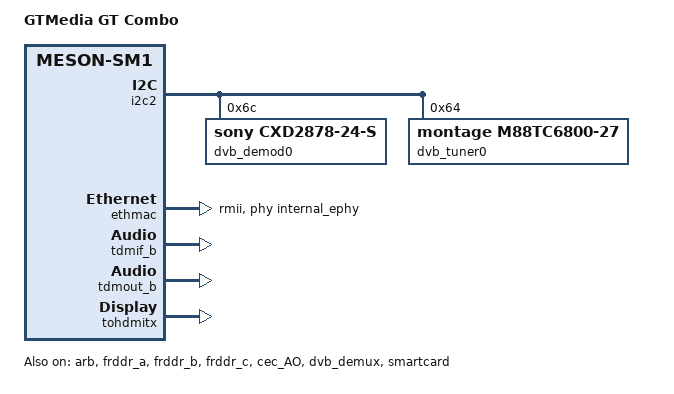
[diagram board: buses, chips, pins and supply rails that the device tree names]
// SPDX-License-Identifier: (GPL-2.0+ OR MIT)
/*
 * Copyright (c) 2026 Marek Czerski <ma.czerski@gmail.com>
 */

/dts-v1/;

#include "meson-sm1-ac2xx.dtsi"
#include <dt-bindings/sound/meson-g12a-tohdmitx.h>

/{
	compatible = "amlogic,gtcombo", "amlogic,sm1";
	model = "GTMedia GT Combo";

	sound {
		compatible = "amlogic,axg-sound-card";
		model = "GTCombo";
		audio-aux-devs = <&tdmout_b>;
		audio-routing = "TDMOUT_B IN 0", "FRDDR_A OUT 1",
				"TDMOUT_B IN 1", "FRDDR_B OUT 1",
				"TDMOUT_B IN 2", "FRDDR_C OUT 1",
				"TDM_B Playback", "TDMOUT_B OUT";

		clocks = <&clkc CLKID_MPLL2>,
			 <&clkc CLKID_MPLL0>,
			 <&clkc CLKID_MPLL1>;

		assigned-clocks = <&clkc CLKID_MPLL2>,
				  <&clkc CLKID_MPLL0>,
				  <&clkc CLKID_MPLL1>;
		assigned-clock-parents = <0>, <0>, <0>;
		assigned-clock-rates = <294912000>,
					   <270950400>,
					   <393216000>;

		dai-link-0 {
			sound-dai = <&frddr_a>;
		};

		dai-link-1 {
			sound-dai = <&frddr_b>;
		};

		dai-link-2 {
			sound-dai = <&frddr_c>;
		};

		/* 8ch hdmi interface */
		dai-link-3 {
			sound-dai = <&tdmif_b>;
			dai-format = "i2s";
			dai-tdm-slot-tx-mask-0 = <1 1>;
			dai-tdm-slot-tx-mask-1 = <1 1>;
			dai-tdm-slot-tx-mask-2 = <1 1>;
			dai-tdm-slot-tx-mask-3 = <1 1>;
			mclk-fs = <256>;

			codec {
				sound-dai = <&tohdmitx TOHDMITX_I2S_IN_B>;
			};
		};

		/* hdmi glue */
		dai-link-4 {
			sound-dai = <&tohdmitx TOHDMITX_I2S_OUT>;

			codec {
				sound-dai = <&hdmi_tx>;
			};
		};
	};

	soc {
		demux: demux { 
			compatible = "amlogic, dmx"; 
 
			interrupts = <GIC_SPI 23 IRQ_TYPE_EDGE_RISING>,
						 <GIC_SPI 5  IRQ_TYPE_EDGE_RISING>,
						 <GIC_SPI 21 IRQ_TYPE_EDGE_RISING>,
						 <GIC_SPI 19 IRQ_TYPE_EDGE_RISING>,
						 <GIC_SPI 25 IRQ_TYPE_EDGE_RISING>;
			interrupt-names = "demux0_irq", "demux1_irq", "demux2_irq", "dvr0_irq", "dvr1_irq"; 
		};
	};

	dvb_demux: dvb-demux {
		compatible = "amlogic,meson-g12a-demux";
		status = "okay";

		reg = <0x0 0xffd06000 0x0 0x400>,
			  <0x0 0xffd0a000 0x0 0x10>,
			  <0x0 0xffd09000 0x0 0x10>;
		reg-names = "stb", "asyncfifo0", "asyncfifo1";

		ts0 = "serial";
		ts0_control = <0x800>;
		ts0_invert = <0x0>;
		ts1 = "parallel";
		ts1_control = <0x0>;
		ts1_invert = <0x0>;

		pinctrl-names = "s_ts0", "p_ts1";
		pinctrl-0 = <&dvb_s_ts0_ao_pins>;
		pinctrl-1 = <&dvb_p_ts1_z_pins>;
		dmx = <&demux>;

		clocks = <&clkc CLKID_DEMUX
				  &clkc CLKID_AHB_ARB0
				  &clkc CLKID_PARSER>;
		clock-names = "demux", "ahbarb0", "parser_top";

		resets = <&reset RESET_DEMUX>,
				 <&reset RESET_DEMUX_DES_PL>,
				 <&reset RESET_DEMUX_0>,
				 <&reset RESET_DEMUX_1>,
				 <&reset RESET_DEMUX_2>,
				 <&reset RESET_ASYNC0>,
				 <&reset RESET_ASYNC1>;
		reset-names = "demux_rst", "des_rst", "demux0_rst", "demux1_rst", "demux2_rst", "async0_rst", "async1_rst";
	};

	//dvb-fe {
	//	compatible = "amlogic,dvb-bridge";

	//	demux = <&dvb_demux>;

	//	frontends {
	//		fe0 {
	//			demod-dev = <&dvb_demod0>;
	//			tuner-dev = <&dvb_tuner0>;
	//		};

	//		fe1 {
	//			demod-i2c-bus = <&i2c2>;
	//			demod-i2c-addr = <0x69>;
	//			demod-module = "m88rs6060";
	//		};
	//	};
	//};
	//dvb-extern {
	//	//dvb_power_value = <0x00>;
	//	//dvb_power_gpio = <&gpio GPIOA_15 GPIO_ACTIVE_LOW>;

	//	//fe0_reset_value = <0>;
	//	//fe0_reset_gpio = <&gpio GPIOZ_7 GPIO_ACTIVE_HIGH>;

	//	fe1_reset_value = <0>;
	//	fe1_reset_gpio = <&gpio GPIOZ_2 GPIO_ACTIVE_HIGH>;
	//};

	smartcard {
		compatible = "amlogic,meson-smc";
		status = "okay";

		smc0_clock_source = <0>;
        smc0_irq = <0x25>;
		smc0_det_invert = <0>;
		smc0_5v3v_level = <0>;
		smc0_enable_level = <1>;
		reset_level = <0>;
		smc_need_enable_pin = "yes";
		enable_pin-gpios = <&gpio_ao GPIOE_2 GPIO_ACTIVE_LOW>;
		reset_pin-gpios = <&gpio_ao GPIOAO_10 GPIO_ACTIVE_HIGH>;
		detect_pin-gpios = <&gpio GPIOC_7 GPIO_ACTIVE_HIGH>;
		enable_5v3v_pin-gpios = <&gpio GPIOH_5 GPIO_ACTIVE_HIGH>;

		reg = <0x0 0xffd25000 0x0 0x40>;
		interrupts = <GIC_SPI 37 IRQ_TYPE_EDGE_RISING>;
		interrupt-names = "smc0_irq";
		clocks = <&clkc CLKID_SD>;
		clock-names = "smartcard";
		pinctrl-names = "default";
		pinctrl-0 = <&smc0_pins>;
	};
};

&i2c2 {
	status = "okay";
	pinctrl-0 = <&i2c2_sda_z_pins>, <&i2c2_sck_z_pins>;
	pinctrl-names = "default";

	dvb_demod0: dvb-demod@6c {
		compatible = "sony,cxd2878-24-s";
		reg = <0x6c>;
	};

	dvb_tuner0: dvb-tuner@64 {
		compatible = "montage,m88tc6800-27";
		reg = <0x64>;
		demod-dev = <&dvb_demod0>;
	};
};

//&sd_emmc_a {
//	brcmf: wifi@1 {
//		compatible = "sprd,unisoc-wifi";
//	};
//};

&ao_pinctrl {
	dvb_s_ts0_ao_pins: dvb-s-ts0-ao {
		mux {
			groups = "tsin_ao_asop",
				 "tsin_ao_adin0",
				 "tsin_ao_aclk",
				 "tsin_ao_a_valid";
			function = "tsin_ao_a";
			bias-disable;
		};
	};
};

&periphs_pinctrl {
	smc0_pins: sd_iso7816_pins {
		mux {
			groups = "iso7816_clk_h",
                "iso7816_data_h";
			function = "iso7816";
			input-enable;
			bias-pull-down;
		};
	};
	dvb_p_ts1_z_pins: dvb-p-ts1-z {
		mux {
			groups = "tsin_b_din0_z",
				 "tsin_b_din1",
				 "tsin_b_din2",
				 "tsin_b_din3",
				 "tsin_b_din4",
				 "tsin_b_din5",
				 "tsin_b_din6",
				 "tsin_b_din7",
				 "tsin_b_clk_z",
				 "tsin_b_sop_z",
				 "tsin_b_valid_z";
			function = "tsin_b";
			bias-disable;
		};
	};
};

&arb {
	status = "okay";
};

&clkc_audio {
	status = "okay";
};

&ethmac {
	status = "okay";
	phy-handle = <&internal_ephy>;
	phy-mode = "rmii";
};

&frddr_a {
	status = "okay";
};

&frddr_b {
	status = "okay";
};

&frddr_c {
	status = "okay";
};

&tdmif_b {
	status = "okay";
};

&tdmout_b {
	status = "okay";
};

&tohdmitx {
	status = "okay";
};

&cec_AO {
	status = "okay";
};

&cecb_AO {
	status = "disabled";
};
